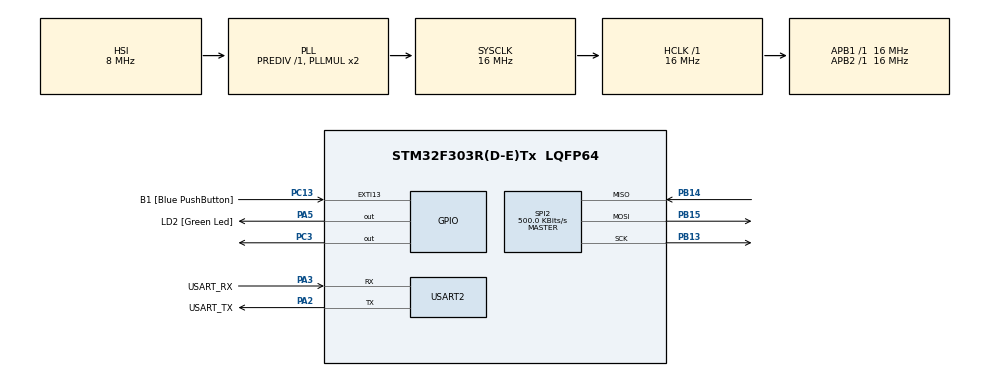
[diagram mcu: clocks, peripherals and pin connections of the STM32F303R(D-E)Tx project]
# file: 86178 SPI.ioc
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Mcu.Family=STM32F3
Mcu.Name=STM32F303R(D-E)Tx
Mcu.Package=LQFP64
NVIC.PriorityGroup=NVIC_PRIORITYGROUP_0
NVIC.SPI2_IRQn=true\:0\:0\:false\:false\:true\:true\:true\:true
PA13.GPIO_Label=TMS
PA13.Mode=Serial_Wire
PA13.Signal=SYS_JTMS-SWDIO
PA14.GPIO_Label=TCK
PA14.Mode=Serial_Wire
PA14.Signal=SYS_JTCK-SWCLK
PA2.GPIO_Label=USART_TX
PA2.GPIO_Mode=GPIO_MODE_AF_PP
PA2.GPIO_PuPd=GPIO_NOPULL
PA2.GPIO_Speed=GPIO_SPEED_FREQ_LOW
PA2.Mode=Asynchronous
PA2.Signal=USART2_TX
PA3.GPIO_Label=USART_RX
PA3.GPIO_Mode=GPIO_MODE_AF_PP
PA3.GPIO_PuPd=GPIO_NOPULL
PA3.GPIO_Speed=GPIO_SPEED_FREQ_LOW
PA3.Mode=Asynchronous
PA3.Signal=USART2_RX
PA5.GPIO_Label=LD2 [Green Led]
PA5.GPIO_Mode=GPIO_MODE_OUTPUT_PP
PA5.GPIO_PuPd=GPIO_NOPULL
PA5.GPIO_Speed=GPIO_SPEED_FREQ_LOW
PA5.Signal=GPIO_Output
PB13.Mode=Full_Duplex_Master
PB13.Signal=SPI2_SCK
PB14.Mode=Full_Duplex_Master
PB14.Signal=SPI2_MISO
PB15.Mode=Full_Duplex_Master
PB15.Signal=SPI2_MOSI
PB3.GPIO_Label=SWO
PB3.Signal=SYS_JTDO-TRACESWO
PC13.GPIO_Label=B1 [Blue PushButton]
PC13.GPIO_ModeDefaultEXTI=GPIO_MODE_IT_FALLING
PC13.Signal=GPXTI13
PC14-OSC32_IN.Mode=LSE-External-Oscillator
PC14-OSC32_IN.Signal=RCC_OSC32_IN
PC15-OSC32_OUT.Mode=LSE-External-Oscillator
PC15-OSC32_OUT.Signal=RCC_OSC32_OUT
PC3.Signal=GPIO_Output
PF0-OSC_IN.Mode=HSE-External-Clock-Source
PF0-OSC_IN.Signal=RCC_OSC_IN
PF1-OSC_OUT.Signal=RCC_OSC_OUT
ProjectManager.HeapSize=0x200
ProjectManager.StackSize=0x400
ProjectManager.TargetToolchain=STM32CubeIDE
RCC.AHBFreq_Value=16000000
RCC.APB1Freq_Value=16000000
RCC.APB1TimFreq_Value=16000000
RCC.APB2Freq_Value=16000000
RCC.APB2TimFreq_Value=16000000
RCC.CortexFreq_Value=16000000
RCC.HCLKFreq_Value=16000000
RCC.HSE_VALUE=8000000
RCC.HSI_VALUE=8000000
RCC.PLLM=8
RCC.PLLN=336
RCC.PLLP=RCC_PLLP_DIV4
RCC.PLLQ=7
RCC.RCC_PLLsource_Clock_Source_FROM_HSE=RCC_HSE_PREDIV_DIV2
RCC.SYSCLKFreq_VALUE=16000000
RCC.SYSCLKSourceVirtual=RCC_SYSCLKSOURCE_PLLCLK
RCC.USBFreq_Value=16000000
SPI2.BaudRatePrescaler=SPI_BAUDRATEPRESCALER_32
SPI2.CLKPhase=SPI_PHASE_1EDGE
SPI2.CLKPolarity=SPI_POLARITY_LOW
SPI2.CalculateBaudRate=500.0 KBits/s
SPI2.DataSize=SPI_DATASIZE_8BIT
SPI2.Direction=SPI_DIRECTION_2LINES
SPI2.Mode=SPI_MODE_MASTER
SPI2.VirtualType=VM_MASTER
USART2.VirtualMode-Asynchronous=VM_ASYNC
board=NUCLEO-F303RE

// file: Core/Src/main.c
/* USER CODE BEGIN Header */
/**
  ******************************************************************************
  * @file           : main.c
  * @brief          : Main program body
  ******************************************************************************
  * @attention
  *
  * Copyright (c) 2022 STMicroelectronics.
  * All rights reserved.
  *
  * This software is licensed under terms that can be found in the LICENSE file
  * in the root directory of this software component.
  * If no LICENSE file comes with this software, it is provided AS-IS.
  *
  ******************************************************************************
  */
/* USER CODE END Header */
#include "main.h"
#include "INC_MAX86178.h"

SPI_HandleTypeDef hspi2;

UART_HandleTypeDef huart2;

void SystemClock_Config(void);
static void MX_GPIO_Init(void);
static void MX_SPI2_Init(void);
static void MX_USART2_UART_Init(void);

int main(void)
{

  /* MCU Configuration--------------------------------------------------------*/

  /* Reset of all peripherals, Initializes the Flash interface and the Systick. */
  HAL_Init();

  /* Configure the system clock */
  SystemClock_Config();

  /* Initialize all configured peripherals */
  MX_GPIO_Init();
  MX_SPI2_Init();
  MX_USART2_UART_Init();

  /* Infinite loop */
  /* USER CODE BEGIN WHILE */
  uint8_t ppg_add[51]={0x1d,0x1d,
		  	  	  	  0x29,
					  0x21,0x21,0x20,0x20,0x20,0x20,
  	  	  	  	  	  0x30,0x30,0x31,0x32,0x32,0x31,0x34,0x34,0x36,0x37,0x35,0x35,
  	  	  	  	  	  0x38,0x38,0x39,0x3a,0x3a,0x39,0x3c,0x3c,0x3c,0x3e,0x3e,0x3d,
  	  	  	  	  	  0x40,0x40,0x41,0x42,0x42,0x41,0x44,0x44,0x44,0x46,0x47,0x45,
  	  	  	  	  	  0x48,0x4c,0x4c,0x49,0x4d,0x4d};
  	  	  	  	  	  //0x00,0x01,0x02,0x03,0x04};

  uint8_t ppg_arr[51]={0x0,0x0,
		  	  	  	  0x00,
					  0x00,0x00,0x01,0x01,0x01,0x01,
  	  	  	  	  	  0x00,0x00,0x03,0x2,0x22,0x03,0x03,0x43,0x47,0x02,0x00,0x02,
					  0x03,0x00,0x01,0x03,0x02,0x22,0x03,0x03,0x43,0x43,0x02,0x00,
					  0x00,0x10,0x3,0x2,0x22,0x18,0x3,0x43,0x47,0x2,0x0,0x8,
  	  	  	  	  	  0x0,0x2,0x22,0x18,0x2,0x30};
  	  	  	  	  	  //0x00,0x01,0x02,0x03,0x04}

  unsigned char *buf_ppg_arr;

  char y[3];

  for(int i=0; i<51;i++)
  {
	  write_reg(ppg_add[i],ppg_arr[i]);

	  buf_ppg_arr=read_reg(ppg_add[i]);

	  y[0] = *buf_ppg_arr;
	  y[2] = *(buf_ppg_arr +2);
	  y[1] = *(buf_ppg_arr +1);

  }

 /*uint8_t *buf;
  char y1[3];

  uint8_t add1=0x20;
  uint8_t val1=0x07;

	write_reg(add1,val1);
//	write_reg(add2,val2);

  buf=read_reg(add1);
  y1[0] = *buf;
  y1[2] = *(buf +2);
  y1[1] = *(buf +1);
*/
//  *buf2=read(add2);

	/*uint8_t tx1[3]={0xc9,0x00,0xab};
	uint8_t tx2[3]={0xc9,0x80,0xff};
	uint8_t rx[3];
	HAL_GPIO_WritePin(GPIOC,GPIO_PIN_3,GPIO_PIN_SET);

	HAL_GPIO_WritePin(GPIOC,GPIO_PIN_3,GPIO_PIN_RESET);
	HAL_SPI_TransmitReceive(&hspi2, tx2, rx, 3, 1000);
	HAL_GPIO_WritePin(GPIOC,GPIO_PIN_3,GPIO_PIN_SET);

	HAL_GPIO_WritePin(GPIOC,GPIO_PIN_3,GPIO_PIN_RESET);
	HAL_SPI_Transmit(&hspi2, tx1, 3, 1000);
	HAL_GPIO_WritePin(GPIOC,GPIO_PIN_3,GPIO_PIN_SET);

	HAL_GPIO_WritePin(GPIOC,GPIO_PIN_3,GPIO_PIN_RESET);
	HAL_SPI_TransmitReceive(&hspi2, tx2, rx, 3, 1000);
	HAL_GPIO_WritePin(GPIOC,GPIO_PIN_3,GPIO_PIN_SET);

*/

    /* USER CODE END WHILE */

}

void SystemClock_Config(void)
{
  RCC_OscInitTypeDef RCC_OscInitStruct = {0};
  RCC_ClkInitTypeDef RCC_ClkInitStruct = {0};
  RCC_PeriphCLKInitTypeDef PeriphClkInit = {0};

  /** Initializes the RCC Oscillators according to the specified parameters
  * in the RCC_OscInitTypeDef structure.
  */
  RCC_OscInitStruct.OscillatorType = RCC_OSCILLATORTYPE_HSI;
  RCC_OscInitStruct.HSIState = RCC_HSI_ON;
  RCC_OscInitStruct.HSICalibrationValue = RCC_HSICALIBRATION_DEFAULT;
  RCC_OscInitStruct.PLL.PLLState = RCC_PLL_ON;
  RCC_OscInitStruct.PLL.PLLSource = RCC_PLLSOURCE_HSI;
  RCC_OscInitStruct.PLL.PLLMUL = RCC_PLL_MUL2;
  RCC_OscInitStruct.PLL.PREDIV = RCC_PREDIV_DIV1;
  if (HAL_RCC_OscConfig(&RCC_OscInitStruct) != HAL_OK)
  {
    Error_Handler();
  }

  /** Initializes the CPU, AHB and APB buses clocks
  */
  RCC_ClkInitStruct.ClockType = RCC_CLOCKTYPE_HCLK|RCC_CLOCKTYPE_SYSCLK
                              |RCC_CLOCKTYPE_PCLK1|RCC_CLOCKTYPE_PCLK2;
  RCC_ClkInitStruct.SYSCLKSource = RCC_SYSCLKSOURCE_PLLCLK;
  RCC_ClkInitStruct.AHBCLKDivider = RCC_SYSCLK_DIV1;
  RCC_ClkInitStruct.APB1CLKDivider = RCC_HCLK_DIV1;
  RCC_ClkInitStruct.APB2CLKDivider = RCC_HCLK_DIV1;

  if (HAL_RCC_ClockConfig(&RCC_ClkInitStruct, FLASH_LATENCY_0) != HAL_OK)
  {
    Error_Handler();
  }
  PeriphClkInit.PeriphClockSelection = RCC_PERIPHCLK_USART2;
  PeriphClkInit.Usart2ClockSelection = RCC_USART2CLKSOURCE_PCLK1;
  if (HAL_RCCEx_PeriphCLKConfig(&PeriphClkInit) != HAL_OK)
  {
    Error_Handler();
  }
}

static void MX_SPI2_Init(void)
{

  /* SPI2 parameter configuration*/
  hspi2.Instance = SPI2;
  hspi2.Init.Mode = SPI_MODE_MASTER;
  hspi2.Init.Direction = SPI_DIRECTION_2LINES;
  hspi2.Init.DataSize = SPI_DATASIZE_8BIT;
  hspi2.Init.CLKPolarity = SPI_POLARITY_LOW;
  hspi2.Init.CLKPhase = SPI_PHASE_1EDGE;
  hspi2.Init.NSS = SPI_NSS_SOFT;
  hspi2.Init.BaudRatePrescaler = SPI_BAUDRATEPRESCALER_64;
  hspi2.Init.FirstBit = SPI_FIRSTBIT_MSB;
  hspi2.Init.TIMode = SPI_TIMODE_DISABLE;
  hspi2.Init.CRCCalculation = SPI_CRCCALCULATION_DISABLE;
  hspi2.Init.CRCPolynomial = 7;
  hspi2.Init.CRCLength = SPI_CRC_LENGTH_DATASIZE;
  hspi2.Init.NSSPMode = SPI_NSS_PULSE_ENABLE;
  if (HAL_SPI_Init(&hspi2) != HAL_OK)
  {
    Error_Handler();
  }

}

static void MX_USART2_UART_Init(void)
{

  huart2.Instance = USART2;
  huart2.Init.BaudRate = 9600;
  huart2.Init.WordLength = UART_WORDLENGTH_8B;
  huart2.Init.StopBits = UART_STOPBITS_1;
  huart2.Init.Parity = UART_PARITY_NONE;
  huart2.Init.Mode = UART_MODE_TX_RX;
  huart2.Init.HwFlowCtl = UART_HWCONTROL_NONE;
  huart2.Init.OverSampling = UART_OVERSAMPLING_16;
  huart2.Init.OneBitSampling = UART_ONE_BIT_SAMPLE_DISABLE;
  huart2.AdvancedInit.AdvFeatureInit = UART_ADVFEATURE_NO_INIT;
  if (HAL_UART_Init(&huart2) != HAL_OK)
  {
    Error_Handler();
  }

}

static void MX_GPIO_Init(void)
{
  GPIO_InitTypeDef GPIO_InitStruct = {0};

  /* GPIO Ports Clock Enable */
  __HAL_RCC_GPIOF_CLK_ENABLE();
  __HAL_RCC_GPIOC_CLK_ENABLE();
  __HAL_RCC_GPIOA_CLK_ENABLE();
  __HAL_RCC_GPIOB_CLK_ENABLE();

  /*Configure GPIO pin Output Level */
  HAL_GPIO_WritePin(GPIOC, GPIO_PIN_3, GPIO_PIN_RESET);

  /*Configure GPIO pin : PC3 */
  GPIO_InitStruct.Pin = GPIO_PIN_3;
  GPIO_InitStruct.Mode = GPIO_MODE_OUTPUT_PP;
  GPIO_InitStruct.Pull = GPIO_NOPULL;
  GPIO_InitStruct.Speed = GPIO_SPEED_FREQ_LOW;
  HAL_GPIO_Init(GPIOC, &GPIO_InitStruct);

}

void Error_Handler(void)
{
  __disable_irq();
  while (1)
  {
  }
}
